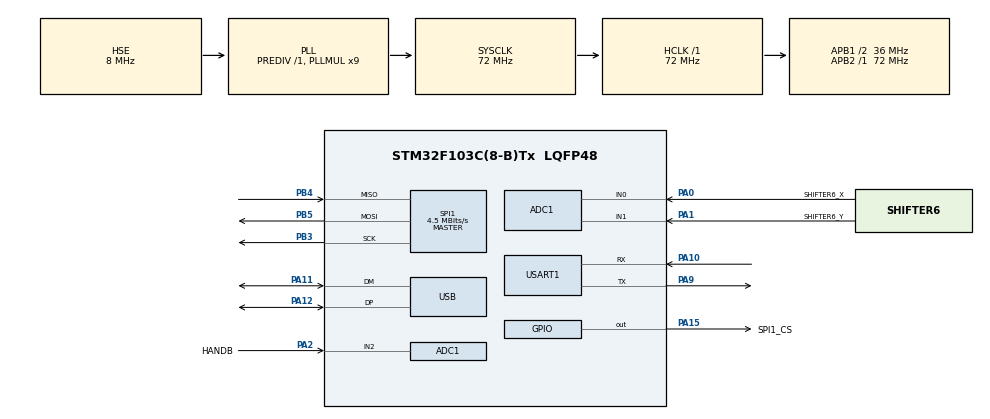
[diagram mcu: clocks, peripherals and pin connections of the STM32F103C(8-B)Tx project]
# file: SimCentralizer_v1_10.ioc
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ADC1.Channel-0\#ChannelRegularConversion=ADC_CHANNEL_0
ADC1.NbrOfConversionFlag=1
ADC1.Rank-0\#ChannelRegularConversion=1
ADC1.SamplingTime-0\#ChannelRegularConversion=ADC_SAMPLETIME_1CYCLE_5
ADC1.master=1
Mcu.Family=STM32F1
Mcu.Name=STM32F103C(8-B)Tx
Mcu.Package=LQFP48
NVIC.PriorityGroup=NVIC_PRIORITYGROUP_4
NVIC.USB_LP_CAN1_RX0_IRQn=true\:0\:0\:false\:false\:true\:false\:true
PA0-WKUP.GPIO_Label=SHIFTER6_X
PA0-WKUP.Signal=ADCx_IN0
PA1.GPIO_Label=SHIFTER6_Y
PA1.Signal=ADCx_IN1
PA10.Mode=Asynchronous
PA10.Signal=USART1_RX
PA11.Mode=Device
PA11.Signal=USB_DM
PA12.Mode=Device
PA12.Signal=USB_DP
PA13.Mode=Serial_Wire
PA13.Signal=SYS_JTMS-SWDIO
PA14.Mode=Serial_Wire
PA14.Signal=SYS_JTCK-SWCLK
PA15.GPIO_Label=SPI1_CS
PA15.GPIO_PuPd=GPIO_NOPULL
PA15.GPIO_Speed=GPIO_SPEED_FREQ_HIGH
PA15.Signal=GPIO_Output
PA2.GPIO_Label=HANDB
PA2.Signal=ADCx_IN2
PA9.Mode=Asynchronous
PA9.Signal=USART1_TX
PB3.Mode=Full_Duplex_Master
PB3.Signal=SPI1_SCK
PB4.Mode=Full_Duplex_Master
PB4.Signal=SPI1_MISO
PB5.Mode=Full_Duplex_Master
PB5.Signal=SPI1_MOSI
PC14-OSC32_IN.Mode=LSE-External-Oscillator
PC14-OSC32_IN.Signal=RCC_OSC32_IN
PC15-OSC32_OUT.Mode=LSE-External-Oscillator
PC15-OSC32_OUT.Signal=RCC_OSC32_OUT
PD0-OSC_IN.Mode=HSE-External-Oscillator
PD0-OSC_IN.Signal=RCC_OSC_IN
PD1-OSC_OUT.Mode=HSE-External-Oscillator
PD1-OSC_OUT.Signal=RCC_OSC_OUT
ProjectManager.HeapSize=0x200
ProjectManager.StackSize=0x400
ProjectManager.TargetToolchain=Makefile
RCC.ADCPresc=RCC_ADCPCLK2_DIV6
RCC.AHBFreq_Value=72000000
RCC.APB1CLKDivider=RCC_HCLK_DIV2
RCC.APB1Freq_Value=36000000
RCC.APB1TimFreq_Value=72000000
RCC.APB2Freq_Value=72000000
RCC.APB2TimFreq_Value=72000000
RCC.EnbaleCSS=true
RCC.HCLKFreq_Value=72000000
RCC.PLLMUL=RCC_PLL_MUL9
RCC.SYSCLKFreq_VALUE=72000000
RCC.SYSCLKSource=RCC_SYSCLKSOURCE_PLLCLK
RCC.USBFreq_Value=48000000
RCC.USBPrescaler=RCC_USBCLKSOURCE_PLL_DIV1_5
SH.ADCx_IN0.0=ADC1_IN0,IN0
SH.ADCx_IN1.0=ADC1_IN1,IN1
SH.ADCx_IN2.0=ADC1_IN2,IN2
SPI1.BaudRatePrescaler=SPI_BAUDRATEPRESCALER_16
SPI1.CalculateBaudRate=4.5 MBits/s
SPI1.DataSize=SPI_DATASIZE_8BIT
SPI1.Direction=SPI_DIRECTION_2LINES
SPI1.FirstBit=SPI_FIRSTBIT_MSB
SPI1.Mode=SPI_MODE_MASTER
SPI1.VirtualType=VM_MASTER
USART1.VirtualMode=VM_ASYNC
USB_DEVICE.CLASS_NAME_FS=CUSTOM_HID
USB_DEVICE.MANUFACTURER_STRING=SimCentralizer
USB_DEVICE.PRODUCT_STRING_CUSTOMHID_FS=Motherboard
USB_DEVICE.USBD_CUSTOM_HID_REPORT_DESC_SIZE=46
USB_DEVICE.VirtualMode=CustomHid
USB_DEVICE.VirtualModeFS=Custom_Hid_FS
VP_USB_DEVICE_VS_USB_DEVICE_CUSTOM_HID_FS.Mode=CUSTOM_HID_FS
board=custom

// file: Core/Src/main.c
/* USER CODE BEGIN Header */
/**
  ******************************************************************************
  * @file           : main.c
  * @brief          : Main program body
  ******************************************************************************
  * @attention
  *
  * Copyright (c) 2022 STMicroelectronics.
  * All rights reserved.
  *
  * This software is licensed under terms that can be found in the LICENSE file
  * in the root directory of this software component.
  * If no LICENSE file comes with this software, it is provided AS-IS.
  *
  ******************************************************************************
  */
/* USER CODE END Header */
#include "main.h"
#include "usb_device.h"

/* USER CODE BEGIN Includes */
#include "usbd_customhid.h"
#include "hid_commands.h"
#include "shifterG27.h"
/* USER CODE END Includes */

ADC_HandleTypeDef hadc1;

SPI_HandleTypeDef hspi1;

UART_HandleTypeDef huart1;

/* USER CODE BEGIN PV */

// USB Handler
extern USBD_HandleTypeDef hUsbDeviceFS;

// Objects
usbMapping_t SimCentralizerHID = {{0,0,0,0},0};
ShifterG27_t Shifter = {0,0,0};

// Values
uint8_t gear = 0;
uint8_t seq = 0;
uint8_t mode = 0;
uint8_t mode_tmp1 = 0;
uint8_t mode_tmp2 = 0;
uint8_t shift = 0;

// ADC Channel
uint32_t adcChannel[3] = {
	ADC_CHANNEL_0,
	ADC_CHANNEL_1,
	ADC_CHANNEL_2
};

// ADC Axis
uint8_t adcAxis[3] = {0,0,0};

// SPI Buffer
uint8_t rx_buffer[2] = {0,0};

/* USER CODE END PV */

void SystemClock_Config(void);
static void MX_GPIO_Init(void);
static void MX_ADC1_Init(void);
static void MX_SPI1_Init(void);
static void MX_USART1_UART_Init(void);

/* USER CODE BEGIN 0 */

// To use ADC multiple channels (variable from MX_ADC1_Init)
ADC_ChannelConfTypeDef sConfig = {0};

/* USER CODE END 0 */

int main(void)
{

  /* MCU Configuration--------------------------------------------------------*/

  /* Reset of all peripherals, Initializes the Flash interface and the Systick. */
  HAL_Init();

  /* Configure the system clock */
  SystemClock_Config();

  /* Initialize all configured peripherals */
  MX_GPIO_Init();
  MX_ADC1_Init();
  MX_SPI1_Init();
  MX_USART1_UART_Init();
  MX_USB_DEVICE_Init();

  /* Infinite loop */
  while (1)
  {

    /* USER CODE BEGIN 3 */

	// G27 SPI ButtonBox
	HAL_GPIO_WritePin(SPI1_CS_GPIO_Port, SPI1_CS_Pin, GPIO_PIN_SET); 							// Start SPI Communication
	HAL_StatusTypeDef status = HAL_SPI_Receive(&hspi1, rx_buffer, sizeof(rx_buffer), 3000); 	// Get SPI Datas

	switch(status)
	{
		case HAL_OK:
			Shifter.button = 0;
			if ((rx_buffer[0] & 0xff) != 0xff)   // if all bits of rx_buffer[0] is 1 assume shifter is disconnected
			{
				// Reverse gear
				if (rx_buffer[0] == 96) Shifter.reverse = 1;
				else Shifter.reverse = 0;

				// Mode button
				if (rx_buffer[0] == 1) mode_tmp1 = 1;
				else mode_tmp1 = 0;

				// Shift button
				if (rx_buffer[0] == 3) shift = 1;
				else shift = 0;

				// Red buttons
				if (rx_buffer[0] == 6) Shifter.button = 1;
				if (rx_buffer[0] == 7) Shifter.button = 11; // Shift + Button 1
				if (rx_buffer[0] == 12) Shifter.button = 2;
				if (rx_buffer[0] == 15) Shifter.button = 12; // Shift + Button 2

				// Black Dpad
				if (rx_buffer[1] == 1) Shifter.button = 3;
				if (rx_buffer[1] == 12) Shifter.button = 4;
				if (rx_buffer[1] == 3) Shifter.button = 5;
				if (rx_buffer[1] == 6) Shifter.button = 6;

				// Black buttons
				if (rx_buffer[1] == 224) Shifter.button = 7;
				if (rx_buffer[1] == 96) Shifter.button = 8;
				if (rx_buffer[1] == 24) Shifter.button = 9;
				if (rx_buffer[1] == 48) Shifter.button = 10;
			}
			break;

		case HAL_TIMEOUT:
		case HAL_BUSY:
		case HAL_ERROR: Error_Handler();
		default: break;
	}

	// Close SPI Communication with G27 Shifter
	HAL_GPIO_WritePin(SPI1_CS_GPIO_Port, SPI1_CS_Pin, GPIO_PIN_RESET);

	// Axis : Read ADC
	for (uint8_t i=0; i<3; ++i) {
		sConfig.Channel = adcChannel[i]; 				// Change channel
		HAL_ADC_ConfigChannel(&hadc1, &sConfig); 		// Apply changes
		HAL_ADC_Start(&hadc1); 							// Start ADC module
		HAL_ADC_PollForConversion(&hadc1, 10); 			// Request for conversion
		adcAxis[i] = HAL_ADC_GetValue(&hadc1) >> 4; 	// Read ADC value and store it into an axis (>> 4 means for 12bits -> 8bits)
	}

	// Axis : Set values
	SimCentralizerHID.z = adcAxis[2] - 128;

	// Shifter : Get Axis & Reverse
	Shifter.xAxis = adcAxis[0];
	Shifter.yAxis = adcAxis[1];

	// Shifter : Mode H/Seq
	if (mode_tmp1 == 1) {
		mode_tmp2 = 1;
	}
	else if (mode_tmp1 == 0) {
		if (mode_tmp1 != mode_tmp2) {
			mode ^= 1;
			gear = 0;
			mode_tmp2 = 0;
		}
    }

	// Shifter : Set Gear
    if (!mode)
    {
        // H Shifter
        gear = getGear(&Shifter);       								// Read active H gear

		// If gear engaged
        if(gear != 0) {
			if (gear == 9) pressButton(&SimCentralizerHID, gear - 1); 	// Send USB active H reverse
			else pressButton(&SimCentralizerHID, gear); 				// Send USB active H gear
		}
    }
    else
    {
		// Sequential Up
        if (getGear(&Shifter) == 4)
		{
			// Send USB gear up
            pressButton(&SimCentralizerHID, 9);
            USBD_CUSTOM_HID_SendReport(&hUsbDeviceFS, (uint8_t *)&SimCentralizerHID, sizeof(usbMapping_t));
			// Buffer variable for Switch State
			seq = 4;
        }
        // Sequential Down
        else if (getGear(&Shifter) == 3)
		{
			// Send USB gear down
            pressButton(&SimCentralizerHID, 10);
            USBD_CUSTOM_HID_SendReport(&hUsbDeviceFS, (uint8_t *)&SimCentralizerHID, sizeof(usbMapping_t));
			// Buffer variable for Switch State
			seq = 3;
		}
		else if (getGear(&Shifter) == 0)
		{
			if (seq == 0) {
				seq = 0; 								// Do nothing (just reset seq to 0)
			}
			else if (seq == 4) {
				if (gear < 8) gear++; 					// Up Gear
            	else if (gear == 9) gear = 0; 			// Reverse to Neutral
				seq = 0;
			}
			else if (seq == 3) {
				if ((gear > 0) && (gear < 9)) gear--; 	// Down Gear
				else gear = 9; 							// Neutral to Reverse
				seq = 0;
			}
		}
    }

	// G27 ButtonBox
	if (Shifter.button) {
		if (shift) pressButton(&SimCentralizerHID, Shifter.button + 20); 	// +20 because : 6 Gears + 1 Gear7 + 1 Reverse + 2 Sequential + Shift
		else pressButton(&SimCentralizerHID, Shifter.button + 10); 			// +10 because : 6 Gears + 1 Gear7 + 1 Reverse + 2 Sequential
	}
	else releaseButtons(&SimCentralizerHID); 								// If no button

	// HID : Send HID report
	USBD_CUSTOM_HID_SendReport(&hUsbDeviceFS, (uint8_t *)&SimCentralizerHID, sizeof(usbMapping_t));

	// Reset Shifter gear
	releaseShifter(&SimCentralizerHID);

  }
  /* USER CODE END 3 */
}

void SystemClock_Config(void)
{
  RCC_OscInitTypeDef RCC_OscInitStruct = {0};
  RCC_ClkInitTypeDef RCC_ClkInitStruct = {0};
  RCC_PeriphCLKInitTypeDef PeriphClkInit = {0};

  /** Initializes the RCC Oscillators according to the specified parameters
  * in the RCC_OscInitTypeDef structure.
  */
  RCC_OscInitStruct.OscillatorType = RCC_OSCILLATORTYPE_HSE;
  RCC_OscInitStruct.HSEState = RCC_HSE_ON;
  RCC_OscInitStruct.HSEPredivValue = RCC_HSE_PREDIV_DIV1;
  RCC_OscInitStruct.HSIState = RCC_HSI_ON;
  RCC_OscInitStruct.PLL.PLLState = RCC_PLL_ON;
  RCC_OscInitStruct.PLL.PLLSource = RCC_PLLSOURCE_HSE;
  RCC_OscInitStruct.PLL.PLLMUL = RCC_PLL_MUL9;
  if (HAL_RCC_OscConfig(&RCC_OscInitStruct) != HAL_OK)
  {
    Error_Handler();
  }
  /** Initializes the CPU, AHB and APB buses clocks
  */
  RCC_ClkInitStruct.ClockType = RCC_CLOCKTYPE_HCLK|RCC_CLOCKTYPE_SYSCLK
                              |RCC_CLOCKTYPE_PCLK1|RCC_CLOCKTYPE_PCLK2;
  RCC_ClkInitStruct.SYSCLKSource = RCC_SYSCLKSOURCE_PLLCLK;
  RCC_ClkInitStruct.AHBCLKDivider = RCC_SYSCLK_DIV1;
  RCC_ClkInitStruct.APB1CLKDivider = RCC_HCLK_DIV2;
  RCC_ClkInitStruct.APB2CLKDivider = RCC_HCLK_DIV1;

  if (HAL_RCC_ClockConfig(&RCC_ClkInitStruct, FLASH_LATENCY_2) != HAL_OK)
  {
    Error_Handler();
  }
  PeriphClkInit.PeriphClockSelection = RCC_PERIPHCLK_ADC|RCC_PERIPHCLK_USB;
  PeriphClkInit.AdcClockSelection = RCC_ADCPCLK2_DIV6;
  PeriphClkInit.UsbClockSelection = RCC_USBCLKSOURCE_PLL_DIV1_5;
  if (HAL_RCCEx_PeriphCLKConfig(&PeriphClkInit) != HAL_OK)
  {
    Error_Handler();
  }
  /** Enables the Clock Security System
  */
  HAL_RCC_EnableCSS();
}

static void MX_ADC1_Init(void)
{

  /** Common config
  */
  hadc1.Instance = ADC1;
  hadc1.Init.ScanConvMode = ADC_SCAN_DISABLE;
  hadc1.Init.ContinuousConvMode = DISABLE;
  hadc1.Init.DiscontinuousConvMode = DISABLE;
  hadc1.Init.ExternalTrigConv = ADC_SOFTWARE_START;
  hadc1.Init.DataAlign = ADC_DATAALIGN_RIGHT;
  hadc1.Init.NbrOfConversion = 1;
  if (HAL_ADC_Init(&hadc1) != HAL_OK)
  {
    Error_Handler();
  }
  /** Configure Regular Channel
  */
  sConfig.Channel = ADC_CHANNEL_0;
  sConfig.Rank = ADC_REGULAR_RANK_1;
  sConfig.SamplingTime = ADC_SAMPLETIME_1CYCLE_5;
  if (HAL_ADC_ConfigChannel(&hadc1, &sConfig) != HAL_OK)
  {
    Error_Handler();
  }

}

static void MX_SPI1_Init(void)
{

  /* SPI1 parameter configuration*/
  hspi1.Instance = SPI1;
  hspi1.Init.Mode = SPI_MODE_MASTER;
  hspi1.Init.Direction = SPI_DIRECTION_2LINES;
  hspi1.Init.DataSize = SPI_DATASIZE_8BIT;
  hspi1.Init.CLKPolarity = SPI_POLARITY_LOW;
  hspi1.Init.CLKPhase = SPI_PHASE_1EDGE;
  hspi1.Init.NSS = SPI_NSS_SOFT;
  hspi1.Init.BaudRatePrescaler = SPI_BAUDRATEPRESCALER_16;
  hspi1.Init.FirstBit = SPI_FIRSTBIT_MSB;
  hspi1.Init.TIMode = SPI_TIMODE_DISABLE;
  hspi1.Init.CRCCalculation = SPI_CRCCALCULATION_DISABLE;
  hspi1.Init.CRCPolynomial = 10;
  if (HAL_SPI_Init(&hspi1) != HAL_OK)
  {
    Error_Handler();
  }

}

static void MX_USART1_UART_Init(void)
{

  huart1.Instance = USART1;
  huart1.Init.BaudRate = 115200;
  huart1.Init.WordLength = UART_WORDLENGTH_8B;
  huart1.Init.StopBits = UART_STOPBITS_1;
  huart1.Init.Parity = UART_PARITY_NONE;
  huart1.Init.Mode = UART_MODE_TX_RX;
  huart1.Init.HwFlowCtl = UART_HWCONTROL_NONE;
  huart1.Init.OverSampling = UART_OVERSAMPLING_16;
  if (HAL_UART_Init(&huart1) != HAL_OK)
  {
    Error_Handler();
  }

}

static void MX_GPIO_Init(void)
{
  GPIO_InitTypeDef GPIO_InitStruct = {0};

  /* GPIO Ports Clock Enable */
  __HAL_RCC_GPIOC_CLK_ENABLE();
  __HAL_RCC_GPIOD_CLK_ENABLE();
  __HAL_RCC_GPIOA_CLK_ENABLE();
  __HAL_RCC_GPIOB_CLK_ENABLE();

  /*Configure GPIO pin Output Level */
  HAL_GPIO_WritePin(SPI1_CS_GPIO_Port, SPI1_CS_Pin, GPIO_PIN_RESET);

  /*Configure GPIO pin : SPI1_CS_Pin */
  GPIO_InitStruct.Pin = SPI1_CS_Pin;
  GPIO_InitStruct.Mode = GPIO_MODE_OUTPUT_PP;
  GPIO_InitStruct.Pull = GPIO_NOPULL;
  GPIO_InitStruct.Speed = GPIO_SPEED_FREQ_HIGH;
  HAL_GPIO_Init(SPI1_CS_GPIO_Port, &GPIO_InitStruct);

}

void Error_Handler(void)
{
  __disable_irq();
  while (1)
  {
  }
}
